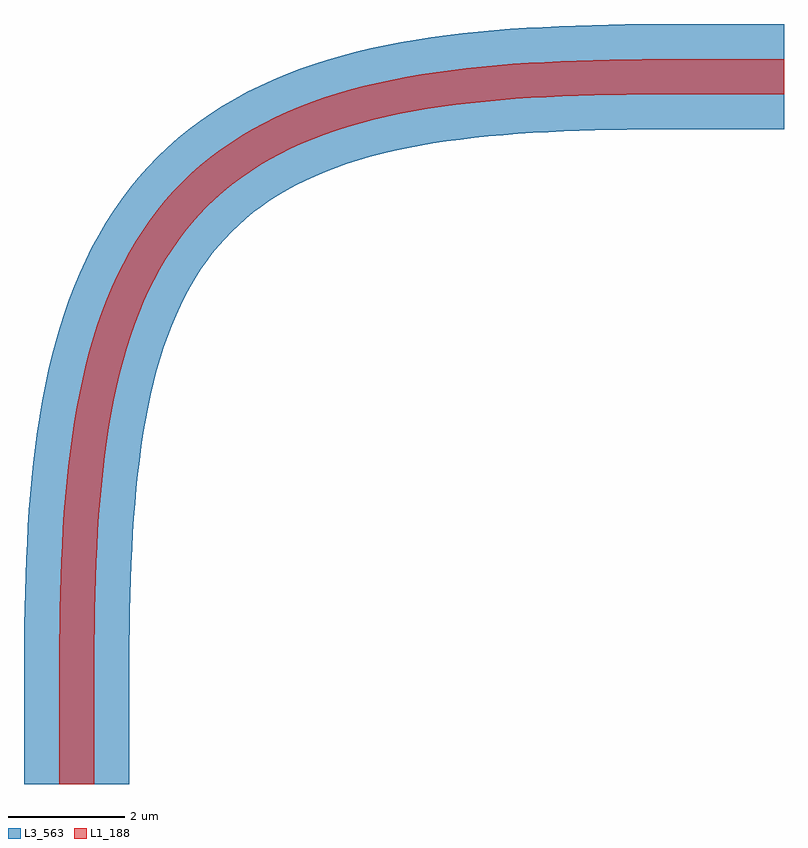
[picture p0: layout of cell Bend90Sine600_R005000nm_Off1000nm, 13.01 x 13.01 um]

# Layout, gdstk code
import gdstk
lib = gdstk.Library(unit=1e-6, precision=1e-09)
L1_188 = (1, 188)
L3_563 = (3, 563)

bend90sine600_r005000nm_ = lib.new_cell('Bend90Sine600_R005000nm_Off1000nm')
bend90sine600_r005000nm_.add(gdstk.FlexPath([(0,-12.107),(0,-11.107),(0,-10.822),(0,-10.538),(0.001,-10.254),(0.002,-9.97),(0.005,-9.688),(0.008,-9.407),(0.013,-9.127),(0.02,-8.848),(0.028,-8.572),(0.038,-8.297),(0.051,-8.025),(0.066,-7.755),(0.083,-7.488),(0.104,-7.224),(0.128,-6.963),(0.154,-6.705),(0.185,-6.45),(0.219,-6.2),(0.256,-5.952),(0.298,-5.709),(0.344,-5.47),(0.394,-5.236),(0.449,-5.006),(0.508,-4.78),(0.572,-4.559),(0.641,-4.343),(0.714,-4.132),(0.793,-3.926),(0.877,-3.725),(0.966,-3.529),(1.061,-3.339),(1.161,-3.154),(1.266,-2.975),(1.378,-2.802),(1.494,-2.633),(1.617,-2.471),(1.745,-2.314),(1.879,-2.163),(2.018,-2.018),(2.163,-1.879),(2.314,-1.745),(2.471,-1.617),(2.633,-1.494),(2.802,-1.378),(2.975,-1.266),(3.154,-1.161),(3.339,-1.061),(3.529,-0.966),(3.725,-0.877),(3.926,-0.793),(4.132,-0.714),(4.343,-0.641),(4.559,-0.572),(4.78,-0.508),(5.006,-0.449),(5.236,-0.394),(5.47,-0.344),(5.709,-0.298),(5.952,-0.256),(6.2,-0.219),(6.45,-0.185),(6.705,-0.154),(6.963,-0.128),(7.224,-0.104),(7.488,-0.083),(7.755,-0.066),(8.025,-0.051),(8.297,-0.038),(8.572,-0.028),(8.848,-0.02),(9.127,-0.013),(9.407,-0.008),(9.688,-0.005),(9.97,-0.002),(10.254,-0.001),(10.538,0),(10.822,0),(11.107,0),(12.107,0)], 0.6, ends="flush", simple_path=True, layer=1, datatype=188))  # L1_188
bend90sine600_r005000nm_.add(gdstk.FlexPath([(0,-12.107),(0,-11.107),(0,-10.822),(0,-10.538),(0.001,-10.254),(0.002,-9.97),(0.005,-9.688),(0.008,-9.407),(0.013,-9.127),(0.02,-8.848),(0.028,-8.572),(0.038,-8.297),(0.051,-8.025),(0.066,-7.755),(0.083,-7.488),(0.104,-7.224),(0.128,-6.963),(0.154,-6.705),(0.185,-6.45),(0.219,-6.2),(0.256,-5.952),(0.298,-5.709),(0.344,-5.47),(0.394,-5.236),(0.449,-5.006),(0.508,-4.78),(0.572,-4.559),(0.641,-4.343),(0.714,-4.132),(0.793,-3.926),(0.877,-3.725),(0.966,-3.529),(1.061,-3.339),(1.161,-3.154),(1.266,-2.975),(1.378,-2.802),(1.494,-2.633),(1.617,-2.471),(1.745,-2.314),(1.879,-2.163),(2.018,-2.018),(2.163,-1.879),(2.314,-1.745),(2.471,-1.617),(2.633,-1.494),(2.802,-1.378),(2.975,-1.266),(3.154,-1.161),(3.339,-1.061),(3.529,-0.966),(3.725,-0.877),(3.926,-0.793),(4.132,-0.714),(4.343,-0.641),(4.559,-0.572),(4.78,-0.508),(5.006,-0.449),(5.236,-0.394),(5.47,-0.344),(5.709,-0.298),(5.952,-0.256),(6.2,-0.219),(6.45,-0.185),(6.705,-0.154),(6.963,-0.128),(7.224,-0.104),(7.488,-0.083),(7.755,-0.066),(8.025,-0.051),(8.297,-0.038),(8.572,-0.028),(8.848,-0.02),(9.127,-0.013),(9.407,-0.008),(9.688,-0.005),(9.97,-0.002),(10.254,-0.001),(10.538,0),(10.822,0),(11.107,0),(12.107,0)], 1.8, ends="flush", simple_path=True, layer=3, datatype=563))  # L3_563

lib.write_gds('Bend90Sine600_R005000nm_Off1000nm.gds')
